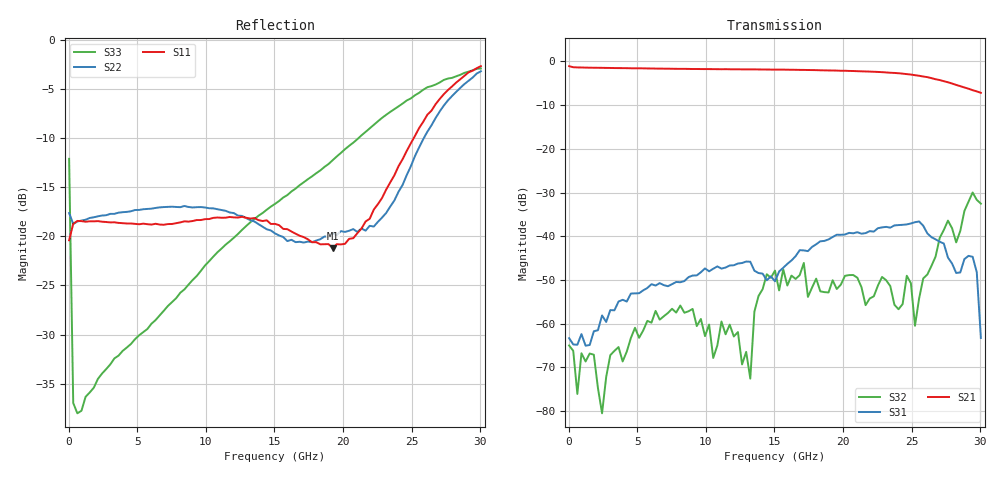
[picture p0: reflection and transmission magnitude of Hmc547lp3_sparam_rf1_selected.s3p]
!Hittite Microwave Corporation
!20 Alpha Rd
!Chelmsford, MA 01824
!Tel: 978-250-3343
!Fax: 978-250-3373
!Device: HMC547LP3, DC - 20 GHz GaAs MMIC SPDT Non-Reflective Switch in leadless QFN SMT package
!Misc: Port1=RFC, Port2= RF1, Port3=RF2, RF1 ON, Data taken on a part mounted on probable matrix board,Bias: -5VDC
# GHZ S DB R 50.0
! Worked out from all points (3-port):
!   101 points, 40 MHz to 30.04 GHz, reference 50 ohm
!   strongest paths, dB at 40 MHz, 7.54 GHz, 15.04 GHz, 22.54 GHz, 30.04 GHz:
!     S21: -1.1, -1.7, -1.9, -2.4, -7.2
!     S31: -63.4, -51.0, -50.3, -38.2, -63.3
!     S32: -65.0, -56.6, -47.9, -51.3, -32.5
!   lowest |S11| = -21.2 dB at 19.24 GHz (marker M1), VSWR 1.19, Z = 50.4 + j8.78 ohm
!   |S11| at or under -10 dB: start of sweep to 25.15 GHz
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0.04  -20.41 43.5  -1.06 -4.0  -70.30 31.5
      -1.08 -4.1  -17.64 6.4  -59.75 110.7
      -63.35 -53.9  -65.02 -22.8  -12.12 7.7
0.64  -18.44 -3.4  -1.36 -10.8  -63.39 -24.1
      -1.37 -10.8  -18.50 -6.4  -67.53 28.6
      -64.85 -14.6  -76.12 106.5  -38.02 73.2
6.34  -18.73 -65.2  -1.62 -99.2  -51.36 32.0
      -1.63 -99.3  -17.12 -91.1  -58.81 41.4
      -51.30 26.0  -57.10 46.6  -28.53 -65.1
11.74  -18.04 -133.9  -1.78 175.7  -47.36 -6.0
       -1.79 175.8  -17.58 -162.8  -59.28 -160.9
       -46.71 -8.4  -60.25 178.2  -20.52 -167.4
12.94  -18.12 -153.2  -1.80 156.5  -45.14 -19.4
       -1.81 156.6  -18.15 176.8  -75.67 162.3
       -45.81 -19.7  -66.48 134.5  -18.96 171.9
15.34  -18.87 162.9  -1.87 117.3  -48.74 -12.8
       -1.87 117.6  -19.92 127.4  -49.94 70.6
       -48.08 -9.9  -52.42 73.5  -16.41 131.4
19.24  -21.19 82.7  -2.07 52.0  -40.06 -51.1
       -2.07 52.0  -19.74 27.5  -49.39 27.2
       -40.19 -47.8  -50.09 34.1  -12.26 59.1
25.24  -9.78 0.8  -3.15 -57.3  -36.61 -144.9
       -3.15 -57.2  -11.83 0.8  -55.92 -29.4
       -36.80 -146.4  -60.50 -30.3  -5.65 -38.4
29.44  -3.15 -63.2  -6.57 -134.0  -46.02 168.0
       -6.58 -133.8  -3.85 -51.6  -29.85 2.4
       -44.72 162.6  -30.00 3.4  -3.11 -85.7
30.04  -2.69 -71.6  -7.19 -143.8  -57.99 -178.9
       -7.18 -143.6  -3.21 -60.4  -32.32 -31.6
       -63.29 174.3  -32.55 -32.5  -2.92 -92.4
